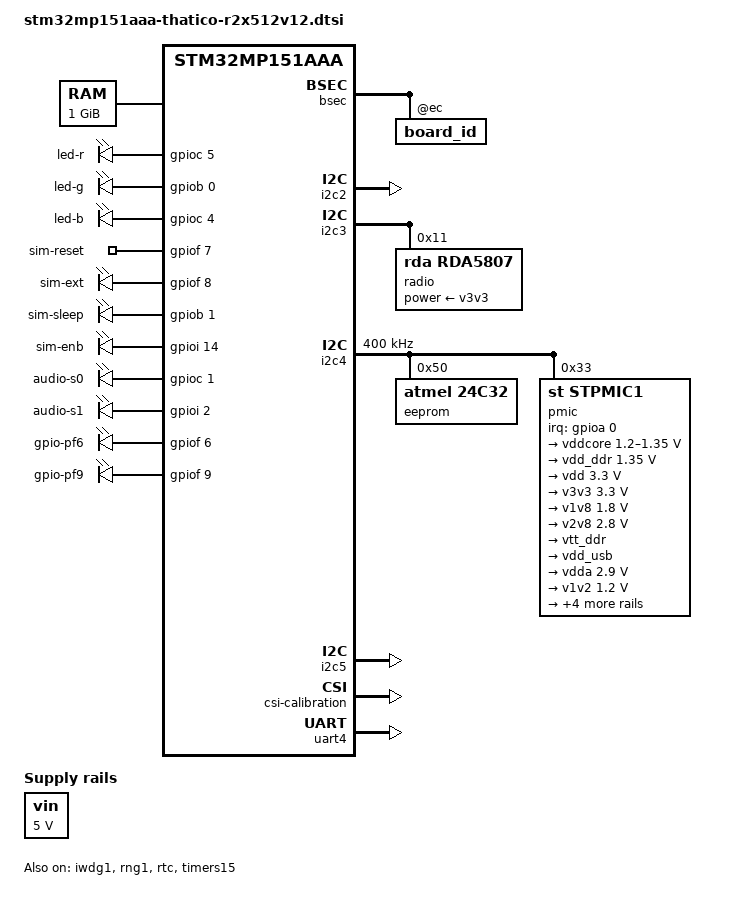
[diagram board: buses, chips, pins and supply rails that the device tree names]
// SPDX-License-Identifier: (GPL-2.0+ OR BSD-3-Clause)
/*
 * Copyright (C) STMicroelectronics 2019 - All Rights Reserved
 * Author: Alexandre Torgue <alexandre.torgue@st.com> for STMicroelectronics.
 */

#include <dt-bindings/clock/stm32mp1-clksrc.h>
#include <dt-bindings/gpio/stm32mp_gpio.h>
#include <dt-bindings/power/stm32mp1-power.h>
#include <dt-bindings/mfd/st,stpmic1.h>
#include <dt-bindings/soc/stm32mp15-etzpc.h>

/ {
	memory@c0000000 {
		device_type = "memory";
		reg = <0xc0000000 0x40000000>;
	};

	reserved-memory {
		#address-cells = <1>;
		#size-cells = <1>;
		ranges;

		mcuram2: mcuram2@10000000 {
			compatible = "shared-dma-pool";
			reg = <0x10000000 0x40000>;
			no-map;
		};

		vdev0vring0: vdev0vring0@10040000 {
			compatible = "shared-dma-pool";
			reg = <0x10040000 0x1000>;
			no-map;
		};

		vdev0vring1: vdev0vring1@10041000 {
			compatible = "shared-dma-pool";
			reg = <0x10041000 0x1000>;
			no-map;
		};

		vdev0buffer: vdev0buffer@10042000 {
			compatible = "shared-dma-pool";
			reg = <0x10042000 0x4000>;
			no-map;
		};

		mcuram: mcuram@30000000 {
			compatible = "shared-dma-pool";
			reg = <0x30000000 0x40000>;
			no-map;
		};

		retram: retram@38000000 {
			compatible = "shared-dma-pool";
			reg = <0x38000000 0x10000>;
			no-map;
		};

		gpu_reserved: gpu@d4000000 {
			reg = <0xd4000000 0x4000000>;
			no-map;
		};
	};

	led {
		compatible = "gpio-leds";
		led-r {
			label = "led-r";
			gpios = <&gpioc 5 GPIO_ACTIVE_HIGH>;
			default-state = "off";
			status = "okay";
		};

		led-g {
			label = "led-g";
			gpios = <&gpiob 0 GPIO_ACTIVE_HIGH>;
			default-state = "off";
			status = "okay";
		};

		led-b {
			label = "led-b";
			gpios = <&gpioc 4 GPIO_ACTIVE_HIGH>;
			default-state = "off";
			status = "okay";
		};

		sim-reset {
			label = "sim-reset";
			gpios = <&gpiof 7 GPIO_ACTIVE_HIGH>;
			default-state = "off";
			status = "okay";
		};

		sim-ext {
			label = "sim-ext";
			gpios = <&gpiof 8 GPIO_ACTIVE_HIGH>;
			default-state = "off";
			status = "okay";
		};

		sim-sleep {
			label = "sim-sleep";
			gpios = <&gpiob 1 GPIO_ACTIVE_HIGH>;
			default-state = "off";
			status = "okay";
		};

		sim-enb {
			label = "sim-enb";
			gpios = <&gpioi 14 GPIO_ACTIVE_HIGH>;
			default-state = "off";
			status = "okay";
		};

		audio-s0 {
			label = "audio-s0";
			gpios = <&gpioc 1 GPIO_ACTIVE_HIGH>;
			default-state = "off";
			status = "okay";
		};

		audio-s1 {
			label = "audio-s1";
			gpios = <&gpioi 2 GPIO_ACTIVE_HIGH>;
			default-state = "off";
			status = "okay";
		};

		gpio-pf6 {
			label = "gpio-pf6";
			gpios = <&gpiof 6 GPIO_ACTIVE_HIGH>;
			default-state = "off";
			status = "okay";
		};

		gpio-pf9 {
			label = "gpio-pf9";
			gpios = <&gpiof 9 GPIO_ACTIVE_HIGH>;
			default-state = "off";
			status = "okay";
		};
	};

	sound {
		compatible = "audio-graph-card";
		label = "STM32MP1-DK";
		routing =
			"Playback" , "MCLK",
			"Capture" , "MCLK",
			"MICL" , "Mic Bias";
		dais = <&sai2a_port &sai2b_port>;
		status = "disabled";
	};

	vin: vin {
		compatible = "regulator-fixed";
		regulator-name = "vin";
		regulator-min-microvolt = <5000000>;
		regulator-max-microvolt = <5000000>;
		regulator-always-on;
	};
};

&adc {
	pinctrl-names = "default";
	pinctrl-0 = <&adc12_ain_pins_a>, <&adc12_usb_cc_pins_a>;
	vdd-supply = <&vdd>;
	vdda-supply = <&vdd>;
	vref-supply = <&vrefbuf>;
	status = "disabled";
	adc1: adc@0 {
		/*
		 * Type-C USB_PWR_CC1 & USB_PWR_CC2 on in18 & in19.
		 * Use at least 5 * RC time, e.g. 5 * (Rp + Rd) * C:
		 * 5 * (56 + 47kOhms) * 5pF => 2.5us.
		 * Use arbitrary margin here (e.g. 5us).
		 */
		st,min-sample-time-nsecs = <5000>;
		/* AIN connector, USB Type-C CC1 & CC2 */
		st,adc-channels = <0 1 6 13 18 19>;
		status = "disabled";
	};
	adc2: adc@100 {
		/* AIN connector, USB Type-C CC1 & CC2 */
		st,adc-channels = <0 1 2 6 18 19>;
		st,min-sample-time-nsecs = <5000>;
		status = "disabled";
	};
};

&bsec {
	board_id: board_id@ec {
		reg = <0xec 0x4>;
		st,non-secure-otp;
	};
};

&cec {
	pinctrl-names = "default", "sleep";
	pinctrl-0 = <&cec_pins_b>;
	pinctrl-1 = <&cec_sleep_pins_b>;
	status = "disabled";
};

&crc1 {
	status = "disabled";
};

&dts {
	status = "disabled";
};

/*
&gpu {
	contiguous-area = <&gpu_reserved>;
};*/

&hash1 {
	status = "disabled";
};

&i2c1 {
	pinctrl-names = "default", "sleep";
	pinctrl-0 = <&i2c1_pins_x>;
	pinctrl-1 = <&i2c1_sleep_pins_x>;
	i2c-scl-rising-time-ns = <100>;
	i2c-scl-falling-time-ns = <7>;
	status = "disabled";
	/delete-property/dmas;
	/delete-property/dma-names;

	cs42l51: cs42l51@4a {
		compatible = "cirrus,cs42l51";
		reg = <0x4a>;
		#sound-dai-cells = <0>;
		VL-supply = <&v3v3>;
		VD-supply = <&v1v8>;
		VA-supply = <&v1v8>;
		VAHP-supply = <&v1v8>;
		reset-gpios = <&gpiog 4 GPIO_ACTIVE_LOW>;
		clocks = <&sai2a>;
		clock-names = "MCLK";
		status = "disabled";

		cs42l51_port: port {
			#address-cells = <1>;
			#size-cells = <0>;

			cs42l51_tx_endpoint: endpoint@0 {
				reg = <0>;
				remote-endpoint = <&sai2a_endpoint>;
				frame-master = <&cs42l51_tx_endpoint>;
				bitclock-master = <&cs42l51_tx_endpoint>;
			};

			cs42l51_rx_endpoint: endpoint@1 {
				reg = <1>;
				remote-endpoint = <&sai2b_endpoint>;
				frame-master = <&cs42l51_rx_endpoint>;
				bitclock-master = <&cs42l51_rx_endpoint>;
			};
		};
	};
};

/* HDMI */
&i2c2 {
	pinctrl-names = "default", "sleep";
	pinctrl-0 = <&i2c2_pins_x>;
	pinctrl-1 = <&i2c2_sleep_pins_x>;
	i2c-scl-rising-time-ns = <100>;
	i2c-scl-falling-time-ns = <7>;
	status = "okay";
	/delete-property/dmas;
	/delete-property/dma-names;
};

/* radio FM */
&i2c3 {
	pinctrl-names = "default", "sleep";
	pinctrl-0 = <&i2c3_pins_x>;
	pinctrl-1 = <&i2c3_sleep_pins_x>;
	i2c-scl-rising-time-ns = <100>;
	i2c-scl-falling-time-ns = <7>;
	status = "okay";
	/delete-property/dmas;
	/delete-property/dma-names;

	radio@11 {
		compatible = "rda,rda5807";
		reg = <0x11>;
		power-supply = <&v3v3>;
		rda,lnan;
		rda,lnap;
		rda,analog-out;
		status = "okay";
	};
};

&clk_hse {
	st,digbypass;
};

&cpu0{
	cpu-supply = <&vddcore>;
};

/*
&cpu1{
	cpu-supply = <&vddcore>;
};*/

&i2c4 {
	compatible = "st,stm32mp15-i2c-non-secure";
	pinctrl-names = "default", "sleep";
	pinctrl-0 = <&i2c4_pins_a>;
	pinctrl-1 = <&i2c4_sleep_pins_a>;
	i2c-scl-rising-time-ns = <185>;
	i2c-scl-falling-time-ns = <20>;
	clock-frequency = <400000>;
	status = "okay";
	/* spare dmas for other usage */
	/delete-property/dmas;
	/delete-property/dma-names;

	eeprom@50 {
		compatible = "atmel,24c32";
		reg = <0x50>;
		pagesize = <32>;
		status = "okay";
	};

	pmic: stpmic@33 {
		compatible = "st,stpmic1";
		reg = <0x33>;
		interrupts-extended = <&gpioa 0 IRQ_TYPE_EDGE_FALLING>;
		interrupt-controller;
		#interrupt-cells = <2>;
		status = "okay";

		regulators {
			compatible = "st,stpmic1-regulators";
			buck1-supply = <&vin>;
			buck2-supply = <&vin>;
			buck3-supply = <&vin>;
			buck4-supply = <&vin>;
			ldo1-supply = <&v3v3>;
			ldo2-supply = <&vin>;
			ldo3-supply = <&vdd_ddr>;
			ldo4-supply = <&vin>;
			ldo5-supply = <&vin>;
			ldo6-supply = <&v3v3>;
			vref_ddr-supply = <&vin>;
			boost-supply = <&vin>;
			pwr_sw1-supply = <&bst_out>;
			pwr_sw2-supply = <&bst_out>;

			vddcore: buck1 {
				regulator-name = "vddcore";
				regulator-min-microvolt = <1200000>;
				regulator-max-microvolt = <1350000>;
				regulator-always-on;
				regulator-initial-mode = <0>;
				regulator-over-current-protection;
			};

			vdd_ddr: buck2 {
				regulator-name = "vdd_ddr";
				regulator-min-microvolt = <1350000>;
				regulator-max-microvolt = <1350000>;
				regulator-always-on;
				regulator-initial-mode = <0>;
				regulator-over-current-protection;
			};

			vdd: buck3 {
				regulator-name = "vdd";
				regulator-min-microvolt = <3300000>;
				regulator-max-microvolt = <3300000>;
				regulator-always-on;
				st,mask-reset;
				regulator-initial-mode = <0>;
				regulator-over-current-protection;
			};

			v3v3: buck4 {
				regulator-name = "v3v3";
				regulator-min-microvolt = <3300000>;
				regulator-max-microvolt = <3300000>;
				regulator-always-on;
				regulator-over-current-protection;
				regulator-initial-mode = <0>;
			};

			v1v8: ldo1 {
				regulator-name = "v1v8";
				regulator-min-microvolt = <1800000>;
				regulator-max-microvolt = <1800000>;
				regulator-always-on;
				interrupts = <IT_CURLIM_LDO1 0>;
			};

			v2v8: ldo2 {
				regulator-name = "v2v8";
				regulator-min-microvolt = <2800000>;
				regulator-max-microvolt = <2800000>;
				regulator-always-on;
				interrupts = <IT_CURLIM_LDO2 0>;
			};

			vtt_ddr: ldo3 {
				regulator-name = "vtt_ddr";
				regulator-always-on;
				regulator-over-current-protection;
				st,regulator-sink-source;
			};

			vdd_usb: ldo4 {
				regulator-name = "vdd_usb";
				interrupts = <IT_CURLIM_LDO4 0>;
			};

			vdda: ldo5 {
				regulator-name = "vdda";
				regulator-min-microvolt = <2900000>;
				regulator-max-microvolt = <2900000>;
				interrupts = <IT_CURLIM_LDO5 0>;
				regulator-boot-on;
			};

			v1v2: ldo6 {
				regulator-name = "v1v2";
				regulator-min-microvolt = <1200000>;
				regulator-max-microvolt = <1200000>;
				regulator-always-on;
				interrupts = <IT_CURLIM_LDO6 0>;
			};

			vref_ddr: vref_ddr {
				regulator-name = "vref_ddr";
				regulator-always-on;
			};

			bst_out: boost {
				regulator-name = "bst_out";
				interrupts = <IT_OCP_BOOST 0>;
			};

			vbus_otg: pwr_sw1 {
				regulator-name = "vbus_otg";
				interrupts = <IT_OCP_OTG 0>;
			};

			vbus_sw: pwr_sw2 {
				regulator-name = "vbus_sw";
				interrupts = <IT_OCP_SWOUT 0>;
				regulator-active-discharge = <1>;
			};
		};

		onkey {
			compatible = "st,stpmic1-onkey";
			interrupts = <IT_PONKEY_F 0>, <IT_PONKEY_R 0>;
			interrupt-names = "onkey-falling", "onkey-rising";
			power-off-time-sec = <10>;
			status = "disabled";
		};

		watchdog {
			compatible = "st,stpmic1-wdt";
			status = "disabled";
		};
	};
};

/* connector */
&i2c5 {
	pinctrl-names = "default", "sleep";
	pinctrl-0 = <&i2c5_pins_x>;
	pinctrl-1 = <&i2c5_sleep_pins_x>;
	i2c-scl-rising-time-ns = <100>;
	i2c-scl-falling-time-ns = <7>;
	status = "okay";
	/delete-property/dmas;
	/delete-property/dma-names;
};

&ipcc {
	status = "disabled";
};

&iwdg1 {
	timeout-sec = <32>;
	status = "okay";
};

&m4_rproc {
	memory-region = <&retram>, <&mcuram>, <&mcuram2>, <&vdev0vring0>,
			<&vdev0vring1>, <&vdev0buffer>;
	mboxes = <&ipcc 0>, <&ipcc 1>, <&ipcc 2>, <&ipcc 3>;
	mbox-names = "vq0", "vq1", "shutdown", "detach";
	interrupt-parent = <&exti>;
	interrupts = <68 1>;
	status = "disabled";
};

&osc_calibration {
	csi-calibration {
		status = "okay";
	};

	hsi-calibration {
		status = "okay";
	};
};

&pwr_regulators {
	system_suspend_supported_soc_modes = <
		STM32_PM_CSLEEP_RUN
		STM32_PM_CSTOP_ALLOW_LP_STOP
		STM32_PM_CSTOP_ALLOW_STANDBY_DDR_SR
	>;
	system_off_soc_mode = <STM32_PM_CSTOP_ALLOW_STANDBY_DDR_OFF>;
	vdd-supply = <&vdd>;
	vdd_3v3_usbfs-supply = <&vdd_usb>;
};

&rcc {
	st,clksrc = <
		CLK_MPU_PLL1P
		CLK_AXI_PLL2P
		CLK_MCU_PLL3P
		CLK_RTC_LSE
		CLK_MCO1_DISABLED
		CLK_MCO2_DISABLED
		CLK_CKPER_HSE
		CLK_FMC_ACLK
		CLK_QSPI_ACLK
		CLK_ETH_PLL4P
		CLK_SDMMC12_PLL4P
		CLK_DSI_DSIPLL
		CLK_STGEN_HSE
		CLK_USBPHY_HSE
		CLK_SPI2S1_PLL3Q
		CLK_SPI2S23_PLL3Q
		CLK_SPI45_HSI
		CLK_SPI6_HSI
		CLK_I2C46_HSI
		CLK_SDMMC3_PLL4P
		CLK_USBO_USBPHY
		CLK_ADC_CKPER
		CLK_CEC_LSE
		CLK_I2C12_HSI
		CLK_I2C35_HSI
		CLK_UART1_HSI
		CLK_UART24_HSI
		CLK_UART35_HSI
		CLK_UART6_HSI
		CLK_UART78_HSI
		CLK_SPDIF_PLL4P
		CLK_FDCAN_PLL4R
		CLK_SAI1_PLL3Q
		CLK_SAI2_PLL3Q
		CLK_SAI3_PLL3Q
		CLK_SAI4_PLL3Q
		CLK_RNG1_LSI
		CLK_RNG2_LSI
		CLK_LPTIM1_PCLK1
		CLK_LPTIM23_PCLK3
		CLK_LPTIM45_LSE
	>;

	st,clkdiv = <
		DIV(DIV_MPU, 1)
		DIV(DIV_AXI, 0)
		DIV(DIV_MCU, 0)
		DIV(DIV_APB1, 1)
		DIV(DIV_APB2, 1)
		DIV(DIV_APB3, 1)
		DIV(DIV_APB4, 1)
		DIV(DIV_APB5, 2)
		DIV(DIV_RTC, 23)
		DIV(DIV_MCO1, 0)
		DIV(DIV_MCO2, 0)
	>;

	st,pll_vco {
		pll2_vco_1066Mhz: pll2-vco-1066Mhz {
			src = <CLK_PLL12_HSE>;
			divmn = <2 65>;
			frac = <0x1400>;
		};

		pll3_vco_417Mhz: pll3-vco-417Mhz {
			src = <CLK_PLL3_HSE>;
			divmn = <1 33>;
			frac = <0x1a04>;
		};

		pll4_vco_594Mhz: pll4-vco-594Mhz {
			src = <CLK_PLL4_HSE>;
			divmn = <3 98>;
		};
	};

	/* VCO = 1066.0 MHz => P = 266 (AXI), Q = 533 (GPU), R = 533 (DDR) */
	pll2: st,pll@1 {
		compatible = "st,stm32mp1-pll";
		reg = <1>;

		st,pll = <&pll2_cfg1>;

		pll2_cfg1: pll2_cfg1 {
			st,pll_vco = <&pll2_vco_1066Mhz>;
			st,pll_div_pqr = <1 0 0>;
		};
	};

	/* VCO = 417.8 MHz => P = 209, Q = 24, R = 11 */
	pll3: st,pll@2 {
		compatible = "st,stm32mp1-pll";
		reg = <2>;

		st,pll = <&pll3_cfg1>;

		pll3_cfg1: pll3_cfg1 {
			st,pll_vco = <&pll3_vco_417Mhz>;
			st,pll_div_pqr = <1 16 36>;
		};
	};

	/* VCO = 594.0 MHz => P = 99, Q = 74, R = 74 */
	pll4: st,pll@3 {
		compatible = "st,stm32mp1-pll";
		reg = <3>;

		st,pll = <&pll4_cfg1>;

		pll4_cfg1: pll4_cfg1 {
			st,pll_vco = <&pll4_vco_594Mhz>;
			st,pll_div_pqr = <5 7 7>;
		};
	};
};

&rng1 {
	status = "okay";
};

&rtc {
	status = "okay";
};

&sai2 {
	clocks = <&rcc SAI2>, <&rcc PLL3_Q>, <&rcc PLL3_R>;
	clock-names = "pclk", "x8k", "x11k";
	pinctrl-names = "default", "sleep";
	pinctrl-0 = <&sai2a_pins_a>, <&sai2b_pins_x>;
	pinctrl-1 = <&sai2a_sleep_pins_a>, <&sai2b_sleep_pins_x>;
	status = "disabled";

	sai2a: audio-controller@4400b004 {
		#clock-cells = <0>;
		dma-names = "tx";
		clocks = <&rcc SAI2_K>;
		clock-names = "sai_ck";
		status = "disabled";

		sai2a_port: port {
			sai2a_endpoint: endpoint {
				remote-endpoint = <&cs42l51_tx_endpoint>;
				format = "i2s";
				mclk-fs = <256>;
				dai-tdm-slot-num = <2>;
				dai-tdm-slot-width = <32>;
			};
		};
	};

	sai2b: audio-controller@4400b024 {
		dma-names = "rx";
		st,sync = <&sai2a 2>;
		clocks = <&rcc SAI2_K>, <&sai2a>;
		clock-names = "sai_ck", "MCLK";
		status = "disabled";

		sai2b_port: port {
			sai2b_endpoint: endpoint {
				remote-endpoint = <&cs42l51_rx_endpoint>;
				format = "i2s";
				mclk-fs = <256>;
				dai-tdm-slot-num = <2>;
				dai-tdm-slot-width = <32>;
			};
		};
	};
};

&sdmmc1 {
	pinctrl-names = "default", "opendrain", "sleep";
	pinctrl-0 = <&sdmmc1_b4_pins_a>;
	pinctrl-1 = <&sdmmc1_b4_od_pins_a>;
	pinctrl-2 = <&sdmmc1_b4_sleep_pins_a>;
	cd-gpios = <&gpioe 4 (GPIO_ACTIVE_LOW | GPIO_PULL_UP)>;
	disable-wp;
	st,neg-edge;
	bus-width = <4>;
	vmmc-supply = <&v3v3>;
	status = "disabled";
};

&sdmmc2 {
	pinctrl-names = "default", "opendrain", "sleep";
	pinctrl-0 = <&sdmmc2_b4_pins_a &sdmmc2_d47_pins_x>;
	pinctrl-1 = <&sdmmc2_b4_od_pins_a &sdmmc2_d47_pins_x>;
	pinctrl-2 = <&sdmmc2_b4_sleep_pins_a &sdmmc2_d47_sleep_pins_x>;
	non-removable;
	no-sd;
	no-sdio;
	st,neg-edge;
	bus-width = <8>;
	vmmc-supply = <&v3v3>;
	vqmmc-supply = <&vdd>;
	mmc-ddr-3_3v;
	status = "disabled";
};

/*
&timers1 {
	/delete-property/dmas;
	/delete-property/dma-names;
	status = "disabled";
	pwm {
		pinctrl-0 = <&pwm1_pins_a>;
		pinctrl-1 = <&pwm1_sleep_pins_a>;
		pinctrl-names = "default", "sleep";
		status = "disabled";
	};
	timer@0 {
		status = "disabled";
	};
};*/

&timers3 {
	/delete-property/dmas;
	/delete-property/dma-names;
	status = "disabled";
	pwm {
		pinctrl-0 = <&pwm3_pins_a>;
		pinctrl-1 = <&pwm3_sleep_pins_a>;
		pinctrl-names = "default", "sleep";
		status = "disabled";
	};
	timer@2 {
		status = "disabled";
	};
};

&timers4 {
	/delete-property/dmas;
	/delete-property/dma-names;
	status = "disabled";
	pwm {
		pinctrl-0 = <&pwm4_pins_a &pwm4_pins_b>;
		pinctrl-1 = <&pwm4_sleep_pins_a &pwm4_sleep_pins_b>;
		pinctrl-names = "default", "sleep";
		status = "disabled";
	};
	timer@3 {
		status = "disabled";
	};
};

&timers5 {
	/delete-property/dmas;
	/delete-property/dma-names;
	status = "disabled";
	pwm {
		pinctrl-0 = <&pwm5_pins_a>;
		pinctrl-1 = <&pwm5_sleep_pins_a>;
		pinctrl-names = "default", "sleep";
		status = "disabled";
	};
	timer@4 {
		status = "disabled";
	};
};

&timers6 {
	/delete-property/dmas;
	/delete-property/dma-names;
	status = "disabled";
	timer@5 {
		status = "disabled";
	};
};

&timers12 {
	/delete-property/dmas;
	/delete-property/dma-names;
	status = "disabled";
	pwm {
		pinctrl-0 = <&pwm12_pins_a>;
		pinctrl-1 = <&pwm12_sleep_pins_a>;
		pinctrl-names = "default", "sleep";
		status = "disabled";
	};
	timer@11 {
		status = "disabled";
	};
};

&timers15 {
	status = "okay";

	counter {
		status = "okay";
	};
};

&uart4 {
	pinctrl-names = "default", "sleep", "idle";
	pinctrl-0 = <&uart4_pins_a>;
	pinctrl-1 = <&uart4_sleep_pins_a>;
	pinctrl-2 = <&uart4_idle_pins_a>;
	/delete-property/dmas;
	/delete-property/dma-names;
	status = "okay";
};

/* connector */
&usart2 {
	pinctrl-names = "default", "sleep", "idle";
	pinctrl-0 = <&usart2_pins_x>;
	pinctrl-1 = <&usart2_sleep_pins_x>;
	pinctrl-2 = <&usart2_idle_pins_x>;
	uart-has-rtscts;
	status = "disabled";
};

/* 4G */
&usart3 {
	pinctrl-names = "default", "sleep", "idle";
	pinctrl-0 = <&usart3_pins_x>;
	pinctrl-1 = <&usart3_sleep_pins_x>;
	pinctrl-2 = <&usart3_idle_pins_x>;
	status = "disabled";
};

&usbh_ehci {
	phys = <&usbphyc_port0>;
	status = "disabled";
};

&usbotg_hs {
	phys = <&usbphyc_port1 0>;
	phy-names = "usb2-phy";
	usb-role-switch;
	status = "disabled";
};

&usbphyc {
	status = "disabled";
};

&usbphyc_port0 {
	phy-supply = <&vdd_usb>;
	st,tune-hs-dc-level = <2>;
	st,enable-fs-rftime-tuning;
	st,enable-hs-rftime-reduction;
	st,trim-hs-current = <15>;
	st,trim-hs-impedance = <1>;
	st,tune-squelch-level = <3>;
	st,tune-hs-rx-offset = <2>;
	st,no-lsfs-sc;
};

&usbphyc_port1 {
	phy-supply = <&vdd_usb>;
	st,tune-hs-dc-level = <2>;
	st,enable-fs-rftime-tuning;
	st,enable-hs-rftime-reduction;
	st,trim-hs-current = <15>;
	st,trim-hs-impedance = <1>;
	st,tune-squelch-level = <3>;
	st,tune-hs-rx-offset = <2>;
	st,no-lsfs-sc;
};

&usart3 {
	pinctrl-names = "default";
	pinctrl-0 = <&usart3_pins_c>;
	uart-has-rtscts;
	status = "disabled";
};

&vrefbuf {
	regulator-min-microvolt = <2500000>;
	regulator-max-microvolt = <2500000>;
	vdda-supply = <&vdd>;
	status = "disabled";
};

/* Low-power states of regulators */
&v1v2 {
	standby-ddr-sr {
		regulator-off-in-suspend;
	};
	standby-ddr-off {
		regulator-off-in-suspend;
	};
};

&v1v8 {
	standby-ddr-sr {
		regulator-off-in-suspend;
	};
	standby-ddr-off {
		regulator-off-in-suspend;
	};
};

&v3v3 {
	lp-stop {
		regulator-suspend-microvolt = <3300000>;
		regulator-on-in-suspend;
	};
	standby-ddr-sr {
		regulator-off-in-suspend;
	};
	standby-ddr-off {
		regulator-off-in-suspend;
	};
};

&v2v8 {
	standby-ddr-sr {
		regulator-off-in-suspend;
	};
	standby-ddr-off {
		regulator-off-in-suspend;
	};
};

&vdd {
	lp-stop {
		regulator-suspend-microvolt = <3300000>;
		regulator-on-in-suspend;
	};
	standby-ddr-sr {
		regulator-suspend-microvolt = <3300000>;
		regulator-on-in-suspend;
	};
	standby-ddr-off {
		regulator-suspend-microvolt = <3300000>;
		regulator-on-in-suspend;
	};
};

&vdda {
	standby-ddr-sr {
		regulator-off-in-suspend;
	};
	standby-ddr-off {
		regulator-off-in-suspend;
	};
};

&vddcore {
	lp-stop {
		regulator-on-in-suspend;
		regulator-suspend-microvolt = <1200000>;
	};
	standby-ddr-sr {
		regulator-off-in-suspend;
	};
	standby-ddr-off {
		regulator-off-in-suspend;
	};
};

&vdd_ddr {
	lp-stop {
		regulator-suspend-microvolt = <1350000>;
		regulator-on-in-suspend;
	};
	standby-ddr-sr {
		regulator-suspend-microvolt = <1350000>;
		regulator-on-in-suspend;
	};
	standby-ddr-off {
		regulator-off-in-suspend;
	};
};

&vdd_usb {
	standby-ddr-sr {
		regulator-off-in-suspend;
	};
	standby-ddr-off {
		regulator-off-in-suspend;
	};
};

&vref_ddr {
	lp-stop {
		regulator-on-in-suspend;
	};
	standby-ddr-sr {
		regulator-on-in-suspend;
	};
	standby-ddr-off {
		regulator-off-in-suspend;
	};
};

&vtt_ddr {
	lp-stop {
		regulator-off-in-suspend;
	};
	standby-ddr-sr {
		regulator-off-in-suspend;
	};
	standby-ddr-off {
		regulator-off-in-suspend;
	};
};
